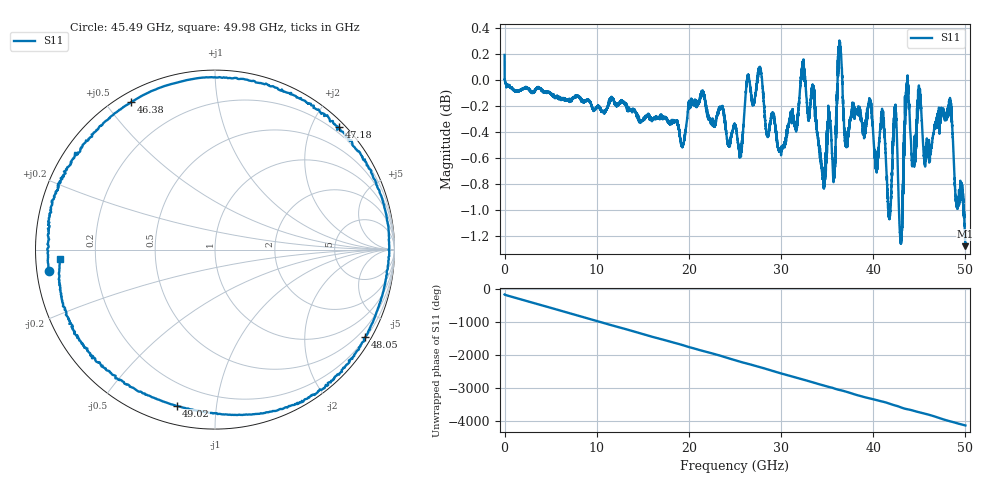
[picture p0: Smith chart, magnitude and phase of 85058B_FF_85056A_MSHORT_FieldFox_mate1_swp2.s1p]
!Created with skrf (http://scikit-rf.org).
# Hz S RI R 50.0
!freq ReS11 ImS11
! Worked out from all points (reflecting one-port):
!   10001 points, 300 kHz to 50 GHz, reference 50 ohm
!   lowest |S11| = -1.3 dB at 50 GHz (marker M1), VSWR 13.60, Z = 3.68 - j0.913 ohm
!   phase of S11 starts at -174 deg and turns -3964 deg over the sweep
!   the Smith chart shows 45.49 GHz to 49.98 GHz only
!   S11 on the Smith chart (normalised r, x): 45.49 GHz: 0.03, -0.06; 46.38 GHz: 0.04, +0.58; 47.18 GHz: 0.11, +2.43; 48.05 GHz: 0.24, -3.71; 49.02 GHz: 0.09, -0.78; 49.98 GHz: 0.07, -0.03
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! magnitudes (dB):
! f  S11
! 300 kHz  0.2
! 6.25 GHz  -0.1
! 12.5 GHz  -0.2
! 18.75 GHz  -0.3
! 25 GHz  -0.4
! 27.69 GHz  0.1
! 29.83 GHz  -0.5
! 31.25 GHz  -0.3
! 32.4 GHz  0.1
! 34.54 GHz  -0.8
! 35.23 GHz  -0.3
! 35.7 GHz  -0.8
! 36.39 GHz  0.3
! 37 GHz  -0.5
! 37.5 GHz  -0.3
! 41.01 GHz  -0.3
! 41.75 GHz  -1.1
! 42.37 GHz  -0.2
! 42.99 GHz  -1.3
! 43.75 GHz  0.0
! 44.3 GHz  -0.6
! 45.49 GHz  -0.6
! 46.38 GHz  -0.5
! 47.18 GHz  -0.3
! 48.05 GHz  -0.3
! 49.02 GHz  -0.9
! 49.98 GHz  -1.3
! 50 GHz  -1.3
